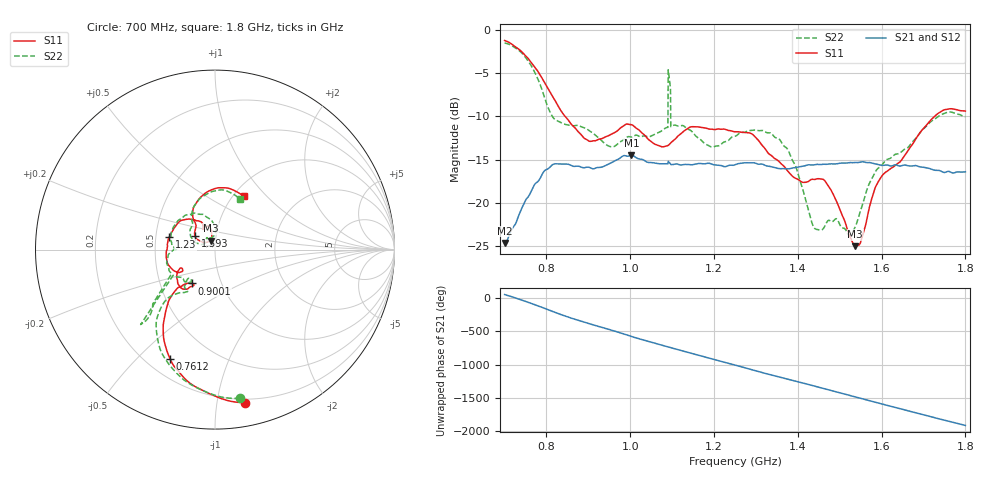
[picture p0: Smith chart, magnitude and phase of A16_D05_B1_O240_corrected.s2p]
! Created with skrf 1.9.0 (http://scikit-rf.org).
# Hz S RI R 50.0
!freq ReS11 ImS11 ReS21 ImS21 ReS12 ImS12 ReS22 ImS22
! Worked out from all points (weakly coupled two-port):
!   1601 points, 700 MHz to 1.8 GHz, reference 50 ohm
!   highest |S21| = -14.52 dB at 1.002 GHz (marker M1); lowest = -24.7 dB at 700.7 MHz (marker M2)
!   lowest |S11| = -25.0 dB at 1.537 GHz (marker M3), VSWR 1.12, Z = 47.4 + j4.82 ohm
!   |S11| at or under -10 dB: 844.4 MHz to 1.727 GHz (882.1 MHz wide, 68.6 % of centre)
!   |S22| runs from -23.8 to -1.5 dB; largest |S21 - S12| = 0.0035
!   S11 on the Smith chart (normalised r, x): 700 MHz: 0.17, -1.20; 761.2 MHz: 0.29, -0.63; 900.1 MHz: 0.72, -0.29; 1.23 GHz: 0.59, +0.09; 1.593 GHz: 0.79, +0.12; 1.8 GHz: 1.12, +0.75
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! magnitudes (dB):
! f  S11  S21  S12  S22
! 700 MHz  -1.2  -24.7  -24.4  -1.5
! 700.7 MHz  -1.2  -24.7  -24.4  -1.5
! 761.2 MHz  -3.6  -18.9  -18.8  -3.9
! 816.9 MHz  -7.9  -15.5  -15.6  -10.2
! 883.6 MHz  -12.2  -15.9  -15.8  -11.2
! 900.1 MHz  -12.8  -15.9  -15.9  -11.6
! 1.002 GHz  -11.0  -14.5  -14.6  -12.4
! 1.067 GHz  -13.4  -15.5  -15.4  -11.9
! 1.084 GHz  -13.5  -15.5  -15.5  -11.3
! 1.096 GHz  -13.1  -15.5  -15.5  -6.7
! 1.102 GHz  -12.8  -15.6  -15.5  -11.1
! 1.23 GHz  -11.6  -15.8  -15.7  -12.9
! 1.25 GHz  -11.8  -15.6  -15.5  -12.3
! 1.357 GHz  -15.3  -16.1  -16.0  -12.7
! 1.395 GHz  -17.2  -15.9  -15.9  -15.8
! 1.434 GHz  -17.3  -15.6  -15.6  -22.3
! 1.474 GHz  -18.1  -15.5  -15.5  -22.0
! 1.537 GHz  -25.0  -15.4  -15.4  -22.9
! 1.593 GHz  -17.5  -15.6  -15.6  -16.0
! 1.617 GHz  -16.2  -15.7  -15.6  -14.9
! 1.733 GHz  -9.7  -16.2  -16.3  -10.1
! 1.8 GHz  -9.4  -16.4  -16.4  -10.0
